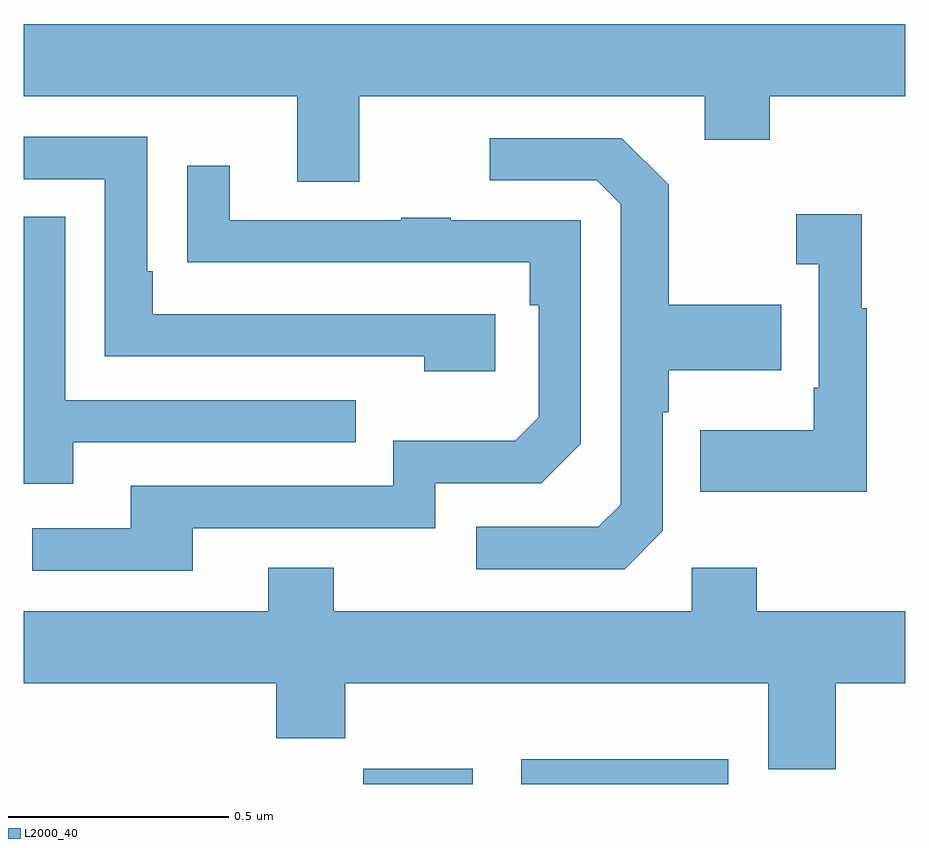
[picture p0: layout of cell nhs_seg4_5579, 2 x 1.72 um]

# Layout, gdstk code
import gdstk
lib = gdstk.Library(unit=1e-6, precision=1e-09)
def R(c, l, rs):  # rectangles x0, y0, x1, y1
    for r in rs: c.add(gdstk.rectangle(r[:2], r[2:], *l))
def P(c, l, *ps):  # polygons
    for p in ps: c.add(gdstk.Polygon(p, *l))
L2000_40 = (2000, 40)

nhs_seg4_5579 = lib.new_cell('nhs_seg4_5579')
R(nhs_seg4_5579, L2000_40, [(179.77,821.9,180.019,821.935), (180.129,821.9,180.598,821.956)])
P(nhs_seg4_5579, L2000_40, [(179.761,823.46),(180.545,823.46),(180.545,823.361),(180.693,823.361),(180.693,823.46),(181,823.46),(181,823.624),(179,823.624),(179,823.46),(179.621,823.46),(179.621,823.266),(179.761,823.266)],
  [(180.07,822.966),(179.293,822.966),(179.293,823.063),(179.28,823.063),(179.28,823.368),(179,823.368),(179,823.272),(179.184,823.272),(179.184,822.87),(179.909,822.87),(179.909,822.836),(180.07,822.836)],
  [(180.45,822.474),(180.45,822.743),(180.463,822.743),(180.463,822.839),(180.719,822.839),(180.719,822.987),(180.463,822.987),(180.463,823.259),(180.357,823.365),(180.057,823.365),(180.057,823.269),(180.3,823.269),(180.354,823.215),(180.354,822.534),(180.303,822.483),(180.027,822.483),(180.027,822.387),(180.363,822.387)],
  [(179.383,822.48),(179.934,822.48),(179.934,822.582),(180.174,822.582),(180.264,822.672),(180.264,823.179),(179.969,823.179),(179.969,823.184),(179.857,823.184),(179.857,823.179),(179.467,823.179),(179.467,823.303),(179.371,823.303),(179.371,823.084),(179.473,823.084),(179.473,823.083),(180.148,823.083),(180.148,822.986),(180.168,822.986),(180.168,822.732),(180.115,822.679),(179.838,822.679),(179.838,822.576),(179.243,822.576),(179.243,822.48),(179.019,822.48),(179.019,822.384),(179.383,822.384)],
  [(180.913,822.979),(180.901,822.979),(180.901,823.192),(180.753,823.192),(180.753,823.079),(180.804,823.079),(180.804,822.799),(180.792,822.799),(180.792,822.703),(180.535,822.703),(180.535,822.563),(180.913,822.563)],
  [(179.113,822.675),(179.753,822.675),(179.753,822.771),(179.094,822.771),(179.094,823.187),(179,823.187),(179,822.581),(179.113,822.581)],
  [(180.842,822.128),(181,822.128),(181,822.292),(180.663,822.292),(180.663,822.391),(180.516,822.391),(180.516,822.292),(179.703,822.292),(179.703,822.391),(179.555,822.391),(179.555,822.292),(179,822.292),(179,822.128),(179.573,822.128),(179.573,822.004),(179.729,822.004),(179.729,822.128),(180.689,822.128),(180.689,821.934),(180.842,821.934)])

lib.write_gds('nhs_seg4_5579.gds')
